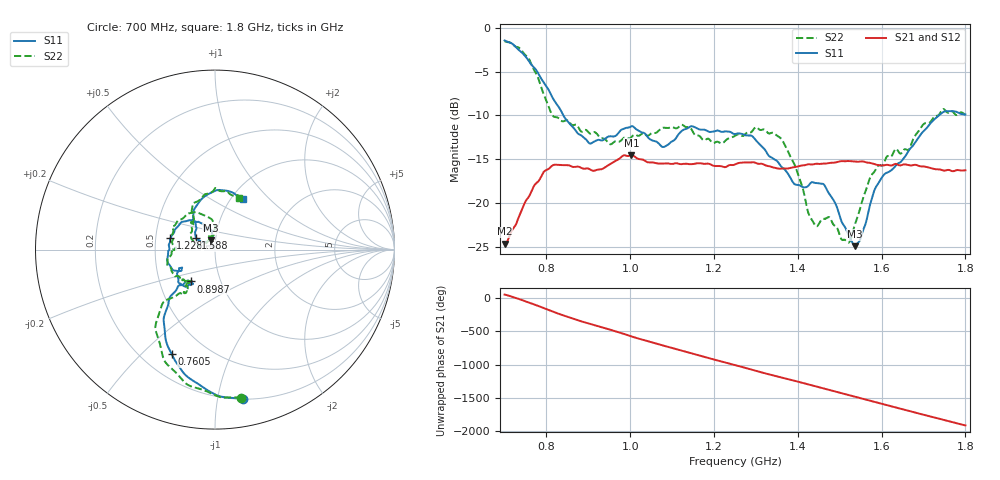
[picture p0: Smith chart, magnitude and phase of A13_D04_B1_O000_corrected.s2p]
! Created with skrf 1.9.0 (http://scikit-rf.org).
# Hz S RI R 50.0
!freq ReS11 ImS11 ReS21 ImS21 ReS12 ImS12 ReS22 ImS22
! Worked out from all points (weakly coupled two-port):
!   1601 points, 700 MHz to 1.8 GHz, reference 50 ohm
!   highest |S21| = -14.56 dB at 1.002 GHz (marker M1); lowest = -24.7 dB at 700.7 MHz (marker M2)
!   lowest |S11| = -25.0 dB at 1.535 GHz (marker M3), VSWR 1.12, Z = 47.3 + j4.82 ohm
!   |S11| at or under -10 dB: 840.2 MHz to 1.737 GHz (896.9 MHz wide, 69.6 % of centre)
!   |S22| runs from -24.6 to -1.5 dB; largest |S21 - S12| = 0.0034
!   S11 on the Smith chart (normalised r, x): 700 MHz: 0.20, -1.19; 760.5 MHz: 0.32, -0.62; 898.7 MHz: 0.72, -0.27; 1.228 GHz: 0.60, +0.08; 1.588 GHz: 0.80, +0.11; 1.8 GHz: 1.13, +0.71
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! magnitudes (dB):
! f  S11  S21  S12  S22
! 700 MHz  -1.4  -24.7  -24.4  -1.5
! 700.7 MHz  -1.5  -24.7  -24.4  -1.5
! 760.5 MHz  -4.0  -19.1  -18.9  -3.8
! 814.1 MHz  -8.0  -15.7  -15.8  -10.0
! 883.6 MHz  -12.3  -16.0  -15.9  -11.9
! 898.7 MHz  -13.0  -16.1  -16.1  -11.9
! 1.002 GHz  -11.3  -14.6  -14.7  -12.5
! 1.067 GHz  -13.2  -15.5  -15.4  -11.8
! 1.145 GHz  -11.3  -15.6  -15.6  -11.5
! 1.228 GHz  -11.8  -15.9  -15.8  -12.9
! 1.25 GHz  -12.1  -15.6  -15.5  -12.3
! 1.359 GHz  -15.8  -16.1  -16.1  -12.6
! 1.394 GHz  -17.9  -15.9  -15.9  -15.9
! 1.434 GHz  -17.6  -15.6  -15.6  -22.0
! 1.464 GHz  -18.1  -15.5  -15.5  -21.8
! 1.519 GHz  -23.5  -15.2  -15.2  -24.5
! 1.535 GHz  -25.0  -15.3  -15.3  -22.7
! 1.588 GHz  -18.0  -15.7  -15.6  -16.0
! 1.617 GHz  -16.5  -15.7  -15.7  -14.7
! 1.665 GHz  -14.0  -15.7  -15.7  -13.9
! 1.742 GHz  -9.8  -16.2  -16.2  -9.5
! 1.8 GHz  -9.9  -16.3  -16.3  -9.9
